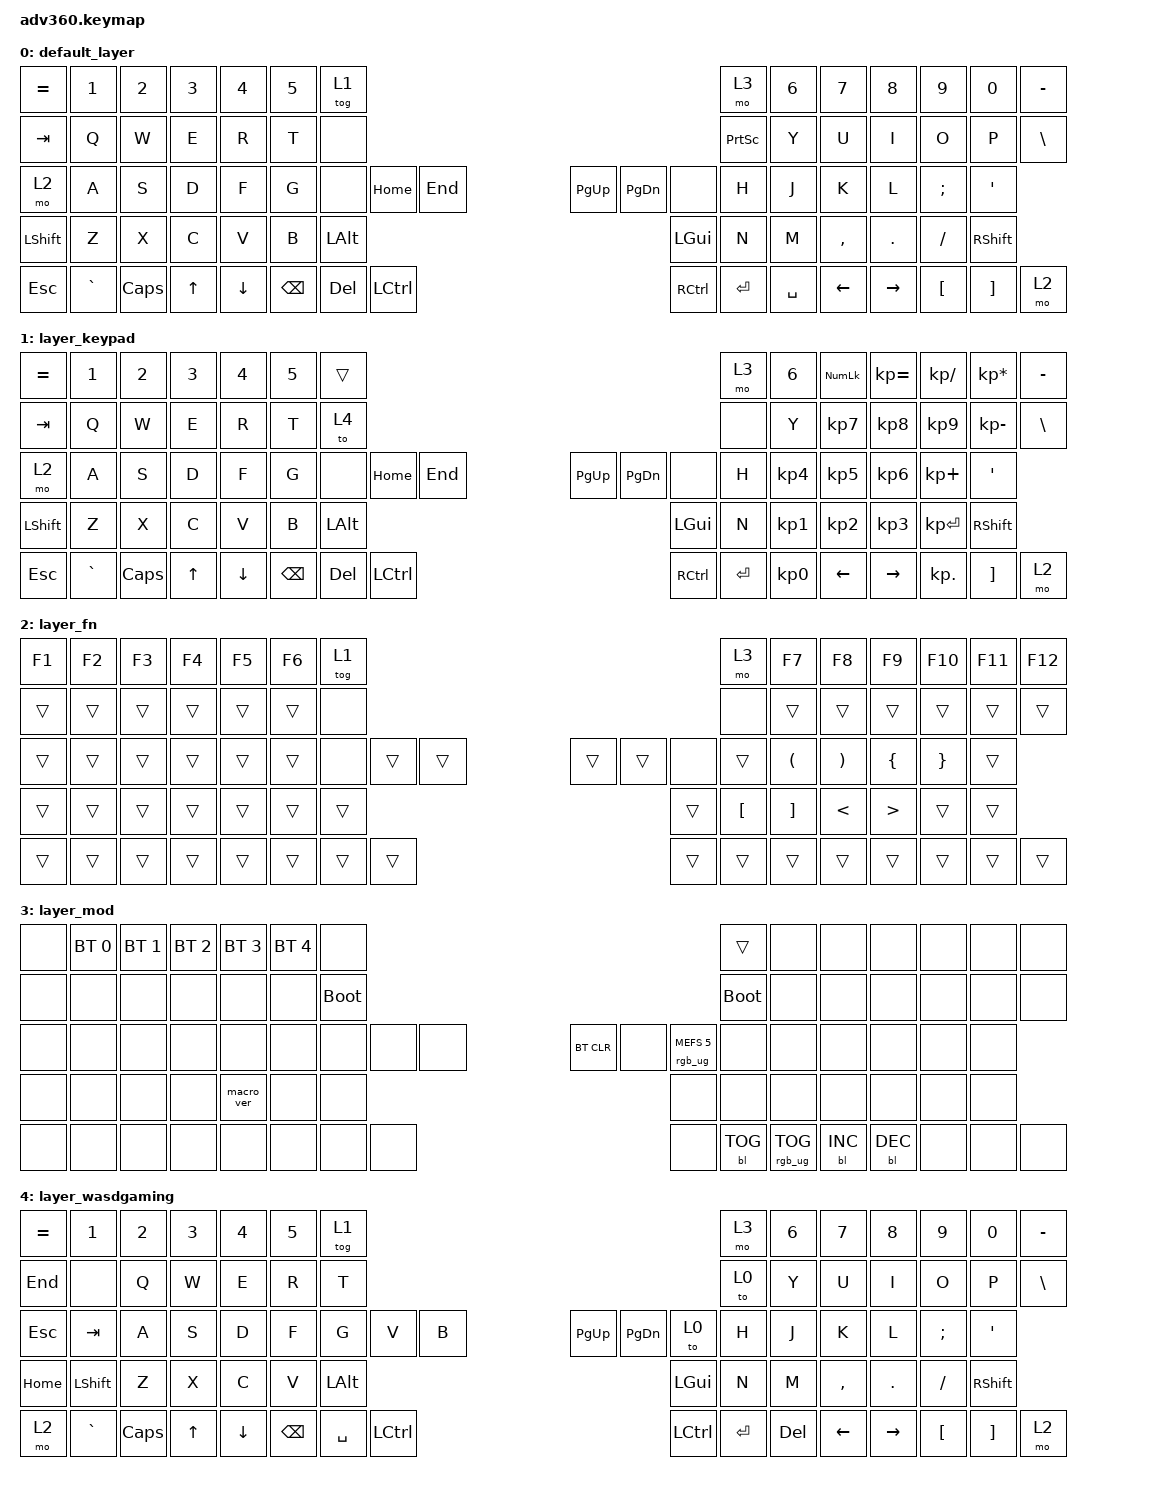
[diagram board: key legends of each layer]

/*
 * Copyright (c) 2020 The ZMK Contributors
 *
 * SPDX-License-Identifier: MIT
 */


/* THIS FILE WAS GENERATED!
 *
 * This file was generated automatically. You may or may not want to
 * edit it directly.
 */

#include <behaviors.dtsi>
#include <dt-bindings/zmk/keys.h>
#include <dt-bindings/zmk/bt.h>
#include <dt-bindings/zmk/rgb.h>
#include <dt-bindings/zmk/backlight.h>

/ {
  behaviors {
    #include "macros.dtsi"
    #include "version.dtsi"

    hm: homerow_mods {
        compatible = "zmk,behavior-hold-tap";
        label = "HOMEROW_MODS";
        #binding-cells = <2>;
        tapping-term-ms = <200>;
        quick_tap_ms = <175>;
        flavor = "tap-preferred";
        bindings = <&kp>, <&kp>;
    };
  };

    keymap {
        compatible = "zmk,keymap";


        default_layer {
            bindings = <
 &kp EQUAL     &kp N1    &kp N2  &kp N3    &kp N4  &kp N5              &tog 1                                                                       &mo 3  &kp N6    &kp N7     &kp N8    &kp N9    &kp N0       &kp MINUS
   &kp TAB      &kp Q     &kp W   &kp E     &kp R   &kp T               &none                                                             &kp PRINTSCREEN   &kp Y     &kp U      &kp I     &kp O     &kp P        &kp BSLH
     &mo 2      &kp A     &kp S   &kp D     &kp F   &kp G               &none  &kp HOME    &kp END                  &kp PG_UP  &kp PG_DN            &none   &kp H     &kp J      &kp K     &kp L  &kp SEMI  &kp APOSTROPHE
 &kp LSHFT      &kp Z     &kp X   &kp C     &kp V   &kp B                                 &kp LALT                   &kp LGUI                               &kp N     &kp M  &kp COMMA   &kp DOT  &kp FSLH       &kp RSHFT
   &kp ESC  &kp GRAVE  &kp CAPS  &kp UP  &kp DOWN                    &kp BSPC   &kp DEL  &kp LCTRL                  &kp RCTRL  &kp ENTER        &kp SPACE          &kp LEFT  &kp RIGHT  &kp LBKT  &kp RBKT           &mo 2
            >;
        };

        layer_keypad {
            bindings = <
 &kp EQUAL     &kp N1    &kp N2  &kp N3    &kp N4  &kp N5              &trans                                                                 &mo 3  &kp N6  &kp KP_NUM  &kp KP_EQUAL  &kp KP_DIVIDE  &kp KP_MULTIPLY  &kp MINUS
   &kp TAB      &kp Q     &kp W   &kp E     &kp R   &kp T               &to 4                                                                 &none   &kp Y   &kp KP_N7     &kp KP_N8      &kp KP_N9     &kp KP_MINUS   &kp BSLH
     &mo 2      &kp A     &kp S   &kp D     &kp F   &kp G               &none  &kp HOME    &kp END                  &kp PG_UP  &kp PG_DN      &none   &kp H   &kp KP_N4     &kp KP_N5      &kp KP_N6      &kp KP_PLUS    &kp SQT
 &kp LSHFT      &kp Z     &kp X   &kp C     &kp V   &kp B                                 &kp LALT                   &kp LGUI                         &kp N   &kp KP_N1     &kp KP_N2      &kp KP_N3     &kp KP_ENTER  &kp RSHFT
   &kp ESC  &kp GRAVE  &kp CAPS  &kp UP  &kp DOWN                    &kp BSPC   &kp DEL  &kp LCTRL                  &kp RCTRL  &kp ENTER  &kp KP_N0            &kp LEFT     &kp RIGHT     &kp KP_DOT         &kp RBKT      &mo 2
            >;
        };

        layer_fn {
            bindings = <
 &kp F1  &kp F2  &kp F3  &kp F4  &kp F5  &kp F6            &tog 1                                                   &mo 3            &kp F7                &kp F8                 &kp F9           &kp F10          &kp F11  &kp F12
 &trans  &trans  &trans  &trans  &trans  &trans             &none                                                   &none            &trans                &trans                 &trans            &trans           &trans   &trans
 &trans  &trans  &trans  &trans  &trans  &trans             &none  &trans  &trans                  &trans  &trans   &none            &trans  &kp LEFT_PARENTHESIS  &kp RIGHT_PARENTHESIS    &kp LEFT_BRACE  &kp RIGHT_BRACE   &trans
 &trans  &trans  &trans  &trans  &trans  &trans                            &trans                  &trans                  &kp LEFT_BRACKET     &kp RIGHT_BRACKET          &kp LESS_THAN  &kp GREATER_THAN           &trans   &trans
 &trans  &trans  &trans  &trans  &trans                    &trans  &trans  &trans                  &trans  &trans  &trans                                  &trans                 &trans            &trans           &trans   &trans
            >;
        };

        layer_mod {
            bindings = <
  &none  &bt BT_SEL 0  &bt BT_SEL 1  &bt BT_SEL 2  &bt BT_SEL 3  &bt BT_SEL 4                  &none                                                                          &trans   &none       &none       &none   &none   &none   &none
  &none         &none         &none         &none         &none         &none            &bootloader                                                                     &bootloader   &none       &none       &none   &none   &none   &none
  &none         &none         &none         &none         &none         &none                  &none   &none   &none                  &bt BT_CLR       &none  &rgb_ug RGB_MEFS_CMD 5   &none       &none       &none   &none   &none   &none
  &none         &none         &none         &none    &macro_ver         &none                                  &none                       &none                                       &none       &none       &none   &none   &none   &none
  &none         &none         &none         &none         &none                                &none   &none   &none                       &none  &bl BL_TOG         &rgb_ug RGB_TOG          &bl BL_INC  &bl BL_DEC   &none   &none   &none
            >;
        };

        layer_wasdgaming {
            bindings = <
 &kp EQUAL          &kp N1    &kp N2  &kp N3    &kp N4  &kp N5              &tog 1                                                                   &mo 3  &kp N6    &kp N7     &kp N8    &kp N9    &kp N0  &kp MINUS
   &kp END           &none     &kp Q   &kp W     &kp E   &kp R               &kp T                                                                   &to 0   &kp Y     &kp U      &kp I     &kp O     &kp P   &kp BSLH
   &kp ESC         &kp TAB     &kp A   &kp S     &kp D   &kp F               &kp G      &kp V      &kp B                  &kp PG_UP  &kp PG_DN       &to 0   &kp H     &kp J      &kp K     &kp L  &kp SEMI    &kp SQT
  &kp HOME  &kp LEFT_SHIFT     &kp Z   &kp X     &kp C   &kp V                                  &kp LALT                   &kp LGUI                          &kp N     &kp M  &kp COMMA   &kp DOT  &kp FSLH  &kp RSHFT
     &mo 2       &kp GRAVE  &kp CAPS  &kp UP  &kp DOWN                    &kp BSPC  &kp SPACE  &kp LCTRL                  &kp LCTRL  &kp ENTER  &kp DELETE          &kp LEFT  &kp RIGHT  &kp LBKT  &kp RBKT      &mo 2
            >;
        };

    };
};
